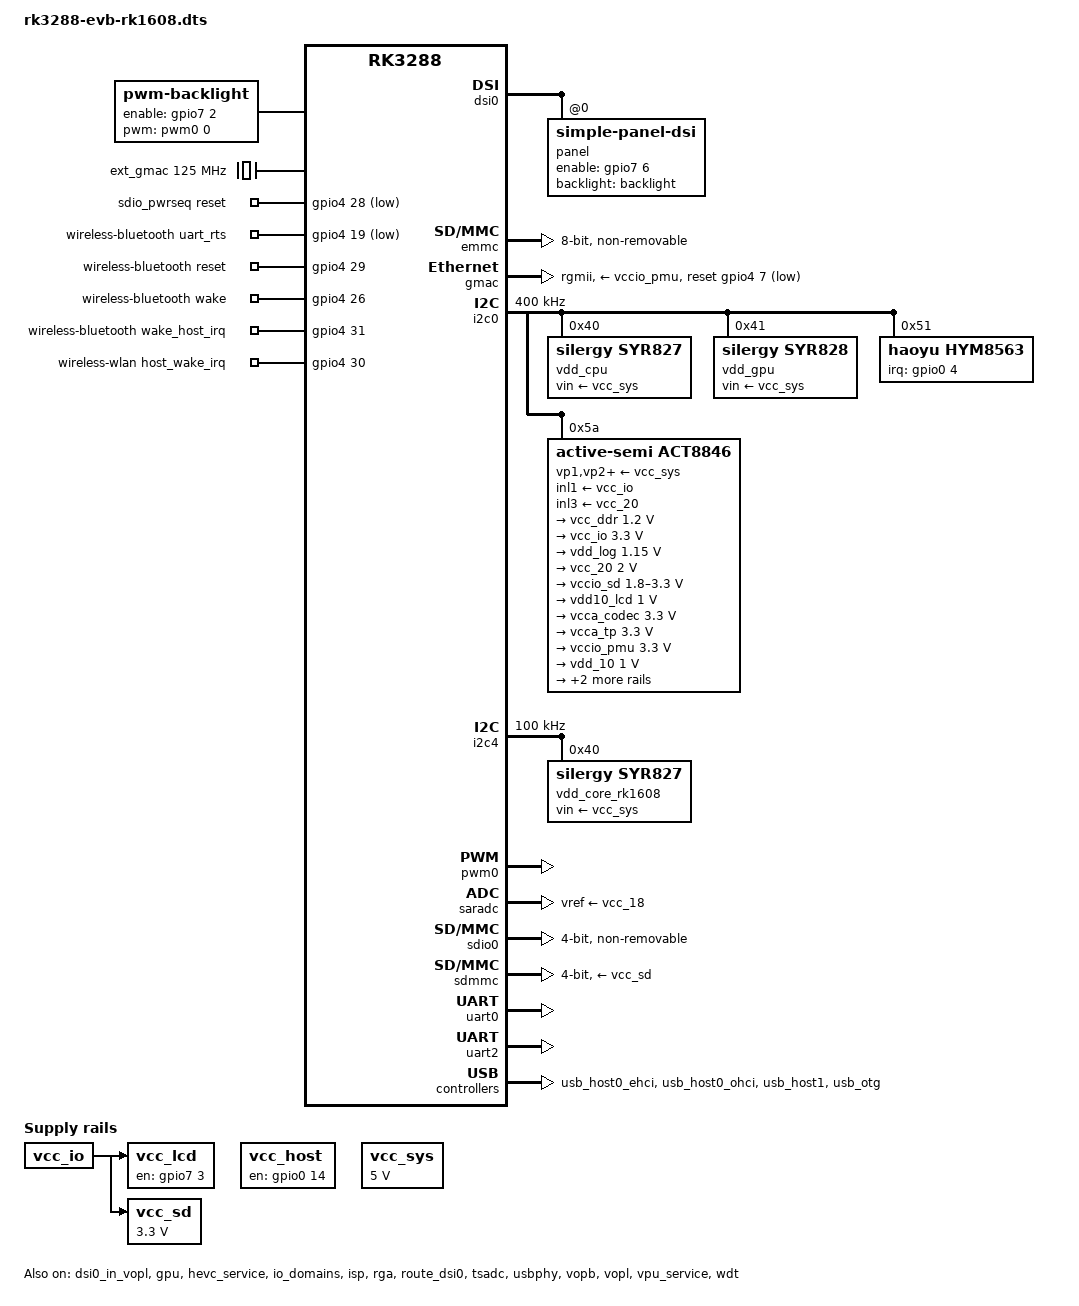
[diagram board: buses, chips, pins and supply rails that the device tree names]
/*
 * Copyright (c) 2017 Fuzhou Rockchip Electronics Co., Ltd
 *
 * This file is dual-licensed: you can use it either under the terms
 * of the GPL or the X11 license, at your option. Note that this dual
 * licensing only applies to this file, and not this project as a
 * whole.
 *
 *  a) This file is free software; you can redistribute it and/or
 *     modify it under the terms of the GNU General Public License as
 *     published by the Free Software Foundation; either version 2 of the
 *     License, or (at your option) any later version.
 *
 *     This file is distributed in the hope that it will be useful,
 *     but WITHOUT ANY WARRANTY; without even the implied warranty of
 *     MERCHANTABILITY or FITNESS FOR A PARTICULAR PURPOSE.  See the
 *     GNU General Public License for more details.
 *
 * Or, alternatively,
 *
 *  b) Permission is hereby granted, free of charge, to any person
 *     obtaining a copy of this software and associated documentation
 *     files (the "Software"), to deal in the Software without
 *     restriction, including without limitation the rights to use,
 *     copy, modify, merge, publish, distribute, sublicense, and/or
 *     sell copies of the Software, and to permit persons to whom the
 *     Software is furnished to do so, subject to the following
 *     conditions:
 *
 *     The above copyright notice and this permission notice shall be
 *     included in all copies or substantial portions of the Software.
 *
 *     THE SOFTWARE IS PROVIDED "AS IS", WITHOUT WARRANTY OF ANY KIND,
 *     EXPRESS OR IMPLIED, INCLUDING BUT NOT LIMITED TO THE WARRANTIES
 *     OF MERCHANTABILITY, FITNESS FOR A PARTICULAR PURPOSE AND
 *     NONINFRINGEMENT. IN NO EVENT SHALL THE AUTHORS OR COPYRIGHT
 *     HOLDERS BE LIABLE FOR ANY CLAIM, DAMAGES OR OTHER LIABILITY,
 *     WHETHER IN AN ACTION OF CONTRACT, TORT OR OTHERWISE, ARISING
 *     FROM, OUT OF OR IN CONNECTION WITH THE SOFTWARE OR THE USE OR
 *     OTHER DEALINGS IN THE SOFTWARE.
 */

/dts-v1/;
#include <dt-bindings/display/media-bus-format.h>
#include <dt-bindings/input/input.h>
#include <dt-bindings/pwm/pwm.h>
#include "rk3288.dtsi"
#include "rk3288-linux.dtsi"

/ {
	compatible = "rockchip,rk3288-evb-rk1608", "rockchip,rk3288";

	backlight: backlight {
		compatible = "pwm-backlight";
		brightness-levels = <
			  0   1   2   3   4   5   6   7
			  8   9  10  11  12  13  14  15
			 16  17  18  19  20  21  22  23
			 24  25  26  27  28  29  30  31
			 32  33  34  35  36  37  38  39
			 40  41  42  43  44  45  46  47
			 48  49  50  51  52  53  54  55
			 56  57  58  59  60  61  62  63
			 64  65  66  67  68  69  70  71
			 72  73  74  75  76  77  78  79
			 80  81  82  83  84  85  86  87
			 88  89  90  91  92  93  94  95
			 96  97  98  99 100 101 102 103
			104 105 106 107 108 109 110 111
			112 113 114 115 116 117 118 119
			120 121 122 123 124 125 126 127
			128 129 130 131 132 133 134 135
			136 137 138 139 140 141 142 143
			144 145 146 147 148 149 150 151
			152 153 154 155 156 157 158 159
			160 161 162 163 164 165 166 167
			168 169 170 171 172 173 174 175
			176 177 178 179 180 181 182 183
			184 185 186 187 188 189 190 191
			192 193 194 195 196 197 198 199
			200 201 202 203 204 205 206 207
			208 209 210 211 212 213 214 215
			216 217 218 219 220 221 222 223
			224 225 226 227 228 229 230 231
			232 233 234 235 236 237 238 239
			240 241 242 243 244 245 246 247
			248 249 250 251 252 253 254 255>;
		default-brightness-level = <128>;
		enable-gpios = <&gpio7 2 GPIO_ACTIVE_HIGH>;
		pinctrl-names = "default";
		pinctrl-0 = <&bl_en>;
		pwms = <&pwm0 0 1000000 PWM_POLARITY_INVERTED>;
	};

	ext_gmac: external-gmac-clock {
		compatible = "fixed-clock";
		clock-frequency = <125000000>;
		clock-output-names = "ext_gmac";
		#clock-cells = <0>;
	};

	sdio_pwrseq: sdio-pwrseq {
		compatible = "mmc-pwrseq-simple";
		clocks = <&hym8563>;
		clock-names = "ext_clock";
		pinctrl-names = "default";
		pinctrl-0 = <&wifi_enable_h>;

		/*
		 * On the module itself this is one of these (depending
		 * on the actual card populated):
		 * - SDIO_RESET_L_WL_REG_ON
		 * - PDN (power down when low)
		 */
		reset-gpios = <&gpio4 28 GPIO_ACTIVE_LOW>;
	};

	/* This turns on USB vbus for both host0 (ehci) and host1 (dwc2) */
	vcc_host: vcc-host-regulator {
		compatible = "regulator-fixed";
		enable-active-high;
		gpio = <&gpio0 14 GPIO_ACTIVE_HIGH>;
		pinctrl-names = "default";
		pinctrl-0 = <&host_vbus_drv>;
		regulator-name = "vcc_host";
		regulator-always-on;
		regulator-boot-on;
	};

	vcc_lcd: vcc-lcd {
		compatible = "regulator-fixed";
		enable-active-high;
		gpio = <&gpio7 3 GPIO_ACTIVE_HIGH>;
		pinctrl-names = "default";
		pinctrl-0 = <&lcd_en>;
		regulator-name = "vcc_lcd";
		vin-supply = <&vcc_io>;
	};

	vcc_sys: vsys-regulator {
		compatible = "regulator-fixed";
		regulator-name = "vcc_sys";
		regulator-min-microvolt = <5000000>;
		regulator-max-microvolt = <5000000>;
		regulator-always-on;
		regulator-boot-on;
	};

	/*
	 * NOTE: vcc_sd isn't hooked up on v1.0 boards where power comes from
	 * vcc_io directly.  Those boards won't be able to power cycle SD cards
	 * but it shouldn't hurt to toggle this pin there anyway.
	 */
	vcc_sd: sdmmc-regulator {
		compatible = "regulator-fixed";
		pinctrl-names = "default";
		pinctrl-0 = <&sdmmc_pwr>;
		regulator-name = "vcc_sd";
		regulator-min-microvolt = <3300000>;
		regulator-max-microvolt = <3300000>;
		startup-delay-us = <100000>;
		vin-supply = <&vcc_io>;
	};

	wireless-bluetooth {
		compatible = "bluetooth-platdata";
		uart_rts_gpios = <&gpio4 19 GPIO_ACTIVE_LOW>;
		pinctrl-names = "default", "rts_gpio";
		pinctrl-0 = <&uart0_rts>;
		pinctrl-1 = <&uart0_gpios>;
		BT,reset_gpio    = <&gpio4 29 GPIO_ACTIVE_HIGH>;
		BT,wake_gpio     = <&gpio4 26 GPIO_ACTIVE_HIGH>;
		BT,wake_host_irq = <&gpio4 31 GPIO_ACTIVE_HIGH>;
		status = "okay";
	};

	wireless-wlan {
		compatible = "wlan-platdata";
		rockchip,grf = <&grf>;
		wifi_chip_type = "ap6335";
		sdio_vref = <1800>;
		WIFI,host_wake_irq = <&gpio4 30 GPIO_ACTIVE_HIGH>;
		status = "okay";
	};
};

&cpu0 {
	cpu0-supply = <&vdd_cpu>;
};

&dsi0 {
	status = "okay";

	panel: panel {
		status = "okay";
		compatible = "simple-panel-dsi";
		reg = <0>;
		backlight = <&backlight>;
		enable-gpios = <&gpio7 6 GPIO_ACTIVE_HIGH>;
		supply = <&vcc_lcd>;
		bus-format = <MEDIA_BUS_FMT_RGB888_1X24>;
		dsi,flags = <(MIPI_DSI_MODE_VIDEO | MIPI_DSI_MODE_VIDEO_BURST)>;
		dsi,format = <MIPI_DSI_FMT_RGB888>;
		dsi,lanes = <4>;
		delay,prepare = <120>;
		delay,enable = <100>;
		delay,reset = <100>;
		delay,init = <1>;
		panel-init-sequence = [
			15 00 02 FF 05
			15 00 02 FB 01
			15 78 02 C5 01
			15 00 02 FF EE
			15 00 02 FB 01
			15 00 02 1F 45
			15 00 02 24 45
			15 00 02 38 C8
			15 00 02 39 27
			15 00 02 1E 77
			15 00 02 1D 0F
			15 00 02 7E 71
			15 00 02 7C 03
			15 00 02 FF 01
			15 00 02 FB 01
			15 00 02 00 01
			15 00 02 01 55
			15 00 02 02 40
			15 00 02 05 40
			15 00 02 06 4A
			15 00 02 07 24
			15 00 02 08 0C
			15 00 02 0B 7D
			15 00 02 0C 7D
			15 00 02 0E B0
			15 00 02 0F AE
			15 00 02 11 10
			15 00 02 12 10
			15 00 02 13 03
			15 00 02 14 4A
			15 00 02 15 12
			15 00 02 16 12
			15 00 02 18 00
			15 00 02 19 77
			15 00 02 1A 55
			15 00 02 1B 13
			15 00 02 1C 00
			15 00 02 1D 00
			15 00 02 1E 13
			15 00 02 1F 00
			15 00 02 23 00
			15 00 02 24 00
			15 00 02 25 00
			15 00 02 26 00
			15 00 02 27 00
			15 00 02 28 00
			15 00 02 35 00
			15 00 02 66 00
			15 00 02 58 82
			15 00 02 59 02
			15 00 02 5A 02
			15 00 02 5B 02
			15 00 02 5C 82
			15 00 02 5D 82
			15 00 02 5E 02
			15 00 02 5F 02
			15 00 02 72 31
			15 00 02 FF 05
			15 00 02 FB 01
			15 00 02 00 01
			15 00 02 01 0B
			15 00 02 02 0C
			15 00 02 03 09
			15 00 02 04 0A
			15 00 02 05 00
			15 00 02 06 0F
			15 00 02 07 10
			15 00 02 08 00
			15 00 02 09 00
			15 00 02 0A 00
			15 00 02 0B 00
			15 00 02 0C 00
			15 00 02 0D 13
			15 00 02 0E 15
			15 00 02 0F 17
			15 00 02 10 01
			15 00 02 11 0B
			15 00 02 12 0C
			15 00 02 13 09
			15 00 02 14 0A
			15 00 02 15 00
			15 00 02 16 0F
			15 00 02 17 10
			15 00 02 18 00
			15 00 02 19 00
			15 00 02 1A 00
			15 00 02 1B 00
			15 00 02 1C 00
			15 00 02 1D 13
			15 00 02 1E 15
			15 00 02 1F 17
			15 00 02 20 00
			15 00 02 21 03
			15 00 02 22 01
			15 00 02 23 40
			15 00 02 24 40
			15 00 02 25 ED
			15 00 02 29 58
			15 00 02 2A 12
			15 00 02 2B 01
			15 00 02 4B 06
			15 00 02 4C 11
			15 00 02 4D 20
			15 00 02 4E 02
			15 00 02 4F 02
			15 00 02 50 20
			15 00 02 51 61
			15 00 02 52 01
			15 00 02 53 63
			15 00 02 54 77
			15 00 02 55 ED
			15 00 02 5B 00
			15 00 02 5C 00
			15 00 02 5D 00
			15 00 02 5E 00
			15 00 02 5F 15
			15 00 02 60 75
			15 00 02 61 00
			15 00 02 62 00
			15 00 02 63 00
			15 00 02 64 00
			15 00 02 65 00
			15 00 02 66 00
			15 00 02 67 00
			15 00 02 68 04
			15 00 02 69 00
			15 00 02 6A 00
			15 00 02 6C 40
			15 00 02 68 04
			15 00 02 69 00
			15 00 02 6A 00
			15 00 02 6C 40
			15 00 02 75 01
			15 00 02 76 01
			15 00 02 7A 80
			15 00 02 7B A3
			15 00 02 7C D8
			15 00 02 7D 60
			15 00 02 7F 15
			15 00 02 80 81
			15 00 02 83 05
			15 00 02 93 08
			15 00 02 94 10
			15 00 02 8A 00
			15 00 02 9B 0F
			15 00 02 FF 01
			15 00 02 FB 01
			15 00 02 FF 02
			15 00 02 FB 01
			15 00 02 FF 04
			15 00 02 FB 01
			15 00 02 FF 00
			15 00 02 D3 06
			15 00 02 D4 04
			05 78 01 11
			15 00 02 FF 00
			15 00 02 35 00
			05 00 01 29
			15 78 02 FF 00
		];

		panel-exit-sequence = [
			05 00 01 28
			05 78 01 10
		];

		display-timings {
			native-mode = <&timing0>;
			compatible = "rockchip,display-timings";
			timing0: timing0 {
				    clock-frequency = <130000000>;
				    hactive = <1080>;
				    vactive = <1920>;

				    hsync-len = <10>;
				    hback-porch = <8>;
				    hfront-porch = <40>;

				    vsync-len = <3>;
				    vback-porch = <2>;
				    vfront-porch = <4>;

				    hsync-active = <0>;
				    vsync-active = <0>;
				    de-active = <0>;
				    pixelclk-active = <0>;
			};
		};
	};
};

&dsi0_in_vopl {
	status = "okay";
};

&dsi0_in_vopb {
	status = "disabled";
};

&emmc {
	bus-width = <8>;
	cap-mmc-highspeed;
	disable-wp;
	non-removable;
	num-slots = <1>;
	pinctrl-names = "default";
	pinctrl-0 = <&emmc_clk &emmc_cmd &emmc_pwr &emmc_bus8>;
	max-frequency = <100000000>;
	mmc-hs200-1_8v;
	mmc-ddr-1_8v;
	status = "okay";
};

&gmac {
	phy-supply = <&vccio_pmu>;
	phy-mode = "rgmii";
	clock_in_out = "input";
	snps,reset-gpio = <&gpio4 7 0>;
	snps,reset-active-low;
	snps,reset-delays-us = <0 10000 50000>;
	assigned-clocks = <&cru SCLK_MAC>;
	assigned-clock-parents = <&ext_gmac>;
	pinctrl-names = "default";
	pinctrl-0 = <&rgmii_pins>;
	tx_delay = <0x30>;
	rx_delay = <0x10>;
	max-speed = <100>;
	status = "okay";
};

&gpu {
	status = "okay";
	mali-supply = <&vdd_gpu>;
};

&hevc_service {
	status = "okay";
};

&i2c0 {
	status = "okay";
	clock-frequency = <400000>;

	vdd_cpu: syr827@40 {
		compatible = "silergy,syr827";
		fcs,suspend-voltage-selector = <1>;
		reg = <0x40>;
		regulator-name = "vdd_cpu";
		regulator-min-microvolt = <850000>;
		regulator-max-microvolt = <1350000>;
		regulator-always-on;
		regulator-boot-on;
		regulator-enable-ramp-delay = <300>;
		regulator-ramp-delay = <8000>;
		vin-supply = <&vcc_sys>;
		regulator-state-mem {
			regulator-off-in-suspend;
		};
	};

	vdd_gpu: syr828@41 {
		compatible = "silergy,syr828";
		fcs,suspend-voltage-selector = <1>;
		reg = <0x41>;
		regulator-name = "vdd_gpu";
		regulator-min-microvolt = <850000>;
		regulator-max-microvolt = <1350000>;
		regulator-always-on;
		regulator-ramp-delay = <6000>;
		vin-supply = <&vcc_sys>;
		regulator-state-mem {
			regulator-off-in-suspend;
		};
	};

	hym8563: hym8563@51 {
		compatible = "haoyu,hym8563";
		reg = <0x51>;

		interrupt-parent = <&gpio0>;
		interrupts = <4 IRQ_TYPE_EDGE_FALLING>;

		pinctrl-names = "default";
		pinctrl-0 = <&pmic_int>;

		#clock-cells = <0>;
		clock-output-names = "xin32k";
	};

	act8846: act8846@5a {
		compatible = "active-semi,act8846";
		reg = <0x5a>;
		system-power-controller;
		status = "okay";

		vp1-supply = <&vcc_sys>;
		vp2-supply = <&vcc_sys>;
		vp3-supply = <&vcc_sys>;
		vp4-supply = <&vcc_sys>;
		inl1-supply = <&vcc_io>;
		inl2-supply = <&vcc_sys>;
		inl3-supply = <&vcc_20>;

		regulators {
			vcc_ddr: REG1 {
				regulator-name = "VCC_DDR";
				regulator-min-microvolt = <1200000>;
				regulator-max-microvolt = <1200000>;
				regulator-always-on;
			};

			vcc_io: REG2 {
				regulator-name = "VCC_IO";
				regulator-min-microvolt = <3300000>;
				regulator-max-microvolt = <3300000>;
				regulator-always-on;
			};

			vdd_log: REG3 {
				regulator-name = "VDD_LOG";
				regulator-min-microvolt = <1150000>;
				regulator-max-microvolt = <1150000>;
				regulator-always-on;
			};

			vcc_20: REG4 {
				regulator-name = "VCC_20";
				regulator-min-microvolt = <2000000>;
				regulator-max-microvolt = <2000000>;
				regulator-always-on;
			};

			vccio_sd: REG5 {
				regulator-name = "VCCIO_SD";
				regulator-min-microvolt = <1800000>;
				regulator-max-microvolt = <3300000>;
				regulator-always-on;
			};

			vdd10_lcd: REG6 {
				regulator-name = "VDD10_LCD";
				regulator-min-microvolt = <1000000>;
				regulator-max-microvolt = <1000000>;
				regulator-always-on;
			};

			vcca_codec: REG7 {
				regulator-name = "VCCA_CODEC";
				regulator-min-microvolt = <3300000>;
				regulator-max-microvolt = <3300000>;
				regulator-always-on;
			};

			vcca_tp: REG8 {
				regulator-name = "VCCA_TP";
				regulator-min-microvolt = <3300000>;
				regulator-max-microvolt = <3300000>;
				regulator-always-on;
			};

			vccio_pmu: REG9 {
				regulator-name = "VCCIO_PMU";
				regulator-min-microvolt = <3300000>;
				regulator-max-microvolt = <3300000>;
				regulator-always-on;
			};

			vdd_10: REG10 {
				regulator-name = "VDD_10";
				regulator-min-microvolt = <1000000>;
				regulator-max-microvolt = <1000000>;
				regulator-always-on;
			};

			vcc_18: REG11 {
				regulator-name = "VCC_18";
				regulator-min-microvolt = <1800000>;
				regulator-max-microvolt = <1800000>;
				regulator-always-on;
			};

			vcc18_lcd: REG12 {
				regulator-name = "VCC18_LCD";
				regulator-min-microvolt = <1800000>;
				regulator-max-microvolt = <1800000>;
				regulator-always-on;
			};
		};
	};
};

&i2c4 {
	status = "okay";
	clock-frequency = <100000>;

	vdd_core_rk1608: syr827_rk1608@40 {
		compatible = "silergy,syr827";
		fcs,suspend-voltage-selector = <1>;
		reg = <0x40>;
		regulator-name = "vdd_core_rk1608";
		regulator-min-microvolt = <712500>;
		regulator-max-microvolt = <1500000>;
		regulator-always-on;
		regulator-boot-on;
		vin-supply = <&vcc_sys>;
		regulator-state-mem {
			regulator-off-in-suspend;
		};
	};
};

&io_domains {
	status = "okay";

	bb-supply = <&vcc_18>;
	sdcard-supply = <&vccio_sd>;
	wifi-supply = <&vcc_18>;
};

&isp {
	status = "okay";
};

&isp_mmu {
	status = "okay";
};

&pinctrl {
	pcfg_pull_none_drv_8ma: pcfg-pull-none-drv-8ma {
		drive-strength = <8>;
	};

	pcfg_pull_up_drv_8ma: pcfg-pull-up-drv-8ma {
		bias-pull-up;
		drive-strength = <8>;
	};

	backlight {
		bl_en: bl-en {
			rockchip,pins = <7 2 RK_FUNC_GPIO &pcfg_pull_none>;
		};
	};

	lcd {
		lcd_en: lcd-en  {
			rockchip,pins = <7 3 RK_FUNC_GPIO &pcfg_pull_none>;
		};
	};

	pmic {
		pmic_int: pmic-int {
			rockchip,pins = <RK_GPIO0 4 RK_FUNC_GPIO &pcfg_pull_up>;
		};
	};

	sdio-pwrseq {
		wifi_enable_h: wifi-enable-h {
			rockchip,pins = <4 28 RK_FUNC_GPIO &pcfg_pull_none>;
		};
	};

	sdmmc {
		/*
		 * Default drive strength isn't enough to achieve even
		 * high-speed mode on EVB board so bump up to 8ma.
		 */
		sdmmc_bus4: sdmmc-bus4 {
			rockchip,pins = <6 16 RK_FUNC_1 &pcfg_pull_up_drv_8ma>,
					<6 17 RK_FUNC_1 &pcfg_pull_up_drv_8ma>,
					<6 18 RK_FUNC_1 &pcfg_pull_up_drv_8ma>,
					<6 19 RK_FUNC_1 &pcfg_pull_up_drv_8ma>;
		};

		sdmmc_clk: sdmmc-clk {
			rockchip,pins = <6 20 RK_FUNC_1 &pcfg_pull_none_drv_8ma>;
		};

		sdmmc_cmd: sdmmc-cmd {
			rockchip,pins = <6 21 RK_FUNC_1 &pcfg_pull_up_drv_8ma>;
		};

		sdmmc_pwr: sdmmc-pwr {
			rockchip,pins = <7 11 RK_FUNC_GPIO &pcfg_pull_none>;
		};
	};

	usb {
		host_vbus_drv: host-vbus-drv {
			rockchip,pins = <0 14 RK_FUNC_GPIO &pcfg_pull_none>;
		};
	};

	wireless-bluetooth {
		uart0_gpios: uart0-gpios {
			rockchip,pins = <4 19 RK_FUNC_GPIO &pcfg_pull_none>;
		};
	};
};

&pwm0 {
	status = "okay";
};

&rga {
	status = "okay";
};

&route_dsi0 {
	status = "okay";
};

&saradc {
	vref-supply = <&vcc_18>;
	status = "okay";
};

&sdio0 {
	status = "okay";

	clock-frequency = <50000000>;
	clock-freq-min-max = <200000 50000000>;

	bus-width = <4>;
	cap-sd-highspeed;
	cap-sdio-irq;
	disable-wp;
	keep-power-in-suspend;
	mmc-pwrseq = <&sdio_pwrseq>;
	non-removable;
	num-slots = <1>;
	pinctrl-names = "default";
	pinctrl-0 = <&sdio0_bus4 &sdio0_cmd &sdio0_clk &sdio0_int>;
	sd-uhs-sdr104;
	supports-sdio;
};

&sdmmc {
	supports-sd;
	bus-width = <4>;
	cap-mmc-highspeed;
	sd-uhs-sdr12;
	sd-uhs-sdr25;
	sd-uhs-sdr50;
	sd-uhs-sdr104;
	cap-sd-highspeed;
	card-detect-delay = <200>;
	disable-wp;			/* wp not hooked up */
	num-slots = <1>;
	pinctrl-names = "default";
	pinctrl-0 = <&sdmmc_clk &sdmmc_cmd &sdmmc_cd &sdmmc_bus4>;
	status = "okay";
	vmmc-supply = <&vcc_sd>;
	vqmmc-supply = <&vccio_sd>;
	supports-sd;
};

&tsadc {
	rockchip,hw-tshut-polarity = <0>; /* tshut polarity 0:LOW 1:HIGH */
	status = "okay";
};

&uart0 {
	pinctrl-names = "default";
	pinctrl-0 = <&uart0_xfer &uart0_cts>;
	status = "okay";
};

&uart2 {
	status = "okay";
};

&usbphy {
	status = "okay";
};

&usb_host0_ehci {
	rockchip-relinquish-port;
	status = "okay";
};

&usb_host0_ohci {
	status = "okay";
};

&usb_host1 {
	status = "okay";
};

&usb_otg {
	status = "okay";
};

&vopb {
	status = "okay";
};

&vopb_mmu {
	status = "okay";
};

&vopl {
	status = "okay";
};

&vopl_mmu {
	status = "okay";
};

&vpu_service {
	status = "okay";
};

&wdt {
	status = "okay";
};
